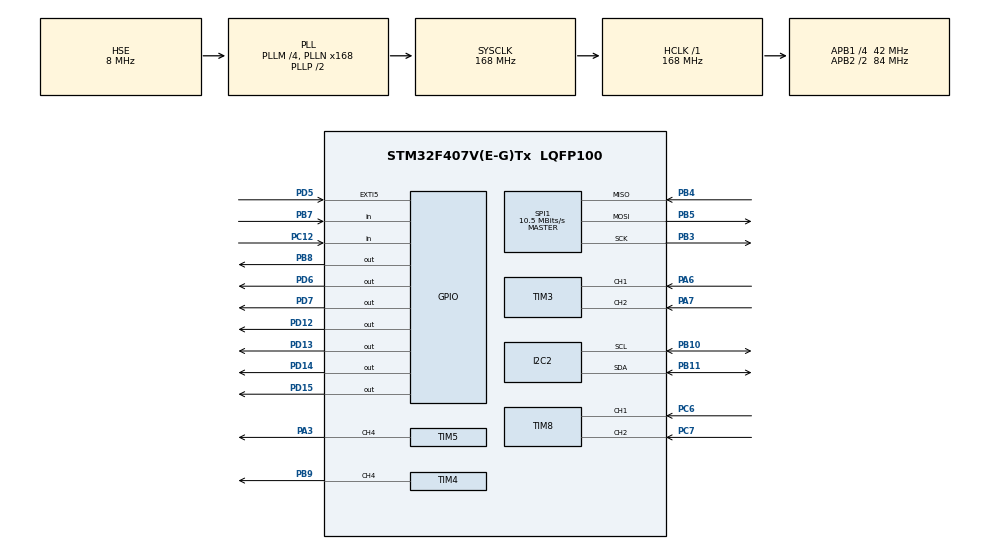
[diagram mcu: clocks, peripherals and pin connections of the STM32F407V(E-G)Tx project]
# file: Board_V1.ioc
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Mcu.Family=STM32F4
Mcu.Name=STM32F407V(E-G)Tx
Mcu.Package=LQFP100
NVIC.EXTI9_5_IRQn=true\:0\:0\:false\:false\:true\:true\:true\:true
NVIC.PriorityGroup=NVIC_PRIORITYGROUP_4
NVIC.TIM2_IRQn=true\:0\:0\:false\:false\:true\:true\:true\:true
PA13.Mode=Serial_Wire
PA13.Signal=SYS_JTMS-SWDIO
PA14.Mode=Serial_Wire
PA14.Signal=SYS_JTCK-SWCLK
PA3.Signal=S_TIM5_CH4
PA6.Signal=S_TIM3_CH1
PA7.Signal=S_TIM3_CH2
PB10.Mode=I2C
PB10.Signal=I2C2_SCL
PB11.Mode=I2C
PB11.Signal=I2C2_SDA
PB3.Mode=Full_Duplex_Master
PB3.Signal=SPI1_SCK
PB4.Mode=Full_Duplex_Master
PB4.Signal=SPI1_MISO
PB5.Mode=Full_Duplex_Master
PB5.Signal=SPI1_MOSI
PB7.Signal=GPIO_Input
PB8.Signal=GPIO_Output
PB9.Signal=S_TIM4_CH4
PC12.Signal=GPIO_Input
PC6.Signal=S_TIM8_CH1
PC7.Signal=S_TIM8_CH2
PD12.Signal=GPIO_Output
PD13.Signal=GPIO_Output
PD14.Signal=GPIO_Output
PD15.Signal=GPIO_Output
PD5.GPIO_ModeDefaultEXTI=GPIO_MODE_IT_FALLING
PD5.Signal=GPXTI5
PD6.Signal=GPIO_Output
PD7.Signal=GPIO_Output
PH0-OSC_IN.Mode=HSE-External-Oscillator
PH0-OSC_IN.Signal=RCC_OSC_IN
PH1-OSC_OUT.Mode=HSE-External-Oscillator
PH1-OSC_OUT.Signal=RCC_OSC_OUT
ProjectManager.HeapSize=0x200
ProjectManager.StackSize=0x400
ProjectManager.TargetToolchain=STM32CubeIDE
RCC.48MHZClocksFreq_Value=84000000
RCC.AHBFreq_Value=168000000
RCC.APB1CLKDivider=RCC_HCLK_DIV4
RCC.APB1Freq_Value=42000000
RCC.APB1TimFreq_Value=84000000
RCC.APB2CLKDivider=RCC_HCLK_DIV2
RCC.APB2Freq_Value=84000000
RCC.APB2TimFreq_Value=168000000
RCC.CortexFreq_Value=168000000
RCC.HCLKFreq_Value=168000000
RCC.HSE_VALUE=8000000
RCC.HSI_VALUE=16000000
RCC.LSE_VALUE=32768
RCC.PLLM=4
RCC.PLLN=168
RCC.PLLSourceVirtual=RCC_PLLSOURCE_HSE
RCC.SYSCLKFreq_VALUE=168000000
RCC.SYSCLKSource=RCC_SYSCLKSOURCE_PLLCLK
RCC.VCOOutputFreq_Value=336000000
SH.S_TIM3_CH1.0=TIM3_CH1,Encoder_Interface
SH.S_TIM3_CH2.0=TIM3_CH2,Encoder_Interface
SH.S_TIM4_CH4.0=TIM4_CH4,PWM Generation4 CH4
SH.S_TIM5_CH4.0=TIM5_CH4,PWM Generation4 CH4
SH.S_TIM8_CH1.0=TIM8_CH1,Encoder_Interface
SH.S_TIM8_CH2.0=TIM8_CH2,Encoder_Interface
SPI1.BaudRatePrescaler=SPI_BAUDRATEPRESCALER_8
SPI1.CalculateBaudRate=10.5 MBits/s
SPI1.Direction=SPI_DIRECTION_2LINES
SPI1.Mode=SPI_MODE_MASTER
SPI1.VirtualType=VM_MASTER
TIM2.AutoReloadPreload=TIM_AUTORELOAD_PRELOAD_DISABLE
TIM2.Period=999
TIM2.Prescaler=83
TIM3.EncoderMode=TIM_ENCODERMODE_TI12
TIM3.IC1Polarity=TIM_ICPOLARITY_RISING
TIM3.IC2Polarity=TIM_ICPOLARITY_FALLING
TIM4.Channel-PWM\ Generation4\ CH4=TIM_CHANNEL_4
TIM4.Period=1199
TIM4.Prescaler=13
TIM5.AutoReloadPreload=TIM_AUTORELOAD_PRELOAD_DISABLE
TIM5.Channel-PWM\ Generation4\ CH4=TIM_CHANNEL_4
TIM5.Period=19999
TIM5.Prescaler=83
TIM8.EncoderMode=TIM_ENCODERMODE_TI12
TIM8.IC2Polarity=TIM_ICPOLARITY_FALLING
VP_TIM2_VS_ClockSourceINT.Mode=Internal
board=custom

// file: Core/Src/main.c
/* USER CODE BEGIN Header */
/**
  ******************************************************************************
  * @file           : main.c
  * @brief          : Main program body
  ******************************************************************************
  * @attention
  *
  * Copyright (c) 2024 STMicroelectronics.
  * All rights reserved.
  *
  * This software is licensed under terms that can be found in the LICENSE file
  * in the root directory of this software component.
  * If no LICENSE file comes with this software, it is provided AS-IS.
  *
  ******************************************************************************
  */
/* USER CODE END Header */
#include "main.h"
#include "i2c.h"
#include "spi.h"
#include "tim.h"
#include "gpio.h"

/* USER CODE BEGIN Includes */
#include "bno055.h"
#include "bno_config.h"
#include "math.h"
#include "esc.h"
#include "nrf24l01p.h"
#include "config_data.h"

/* USER CODE END Includes */

/* USER CODE BEGIN PD */
#define TRANSMITTER 					//phát
//#define RECEIVER
#define mainland
//#define Underwater

/* USER CODE END PD */

void SystemClock_Config(void);
/* USER CODE BEGIN PFP */
void HAL_GPIO_EXTI_Callback(uint16_t GPIO_Pin);
void HAL_TIM_PeriodElapsedCallback(TIM_HandleTypeDef *htim);
void CALCULATOR(float _dt);
float __low_pass_filter(float input, float previous_output, float alpha);
void read_value_BNO055();
void PID_calculator();
void BNO_init();
void calib_euler(bno055_euler_t* eul_caculate,  bno055_euler_t eul_raw, bno055_euler_t eul_offset );
void euler_get_value_offset(bno055_euler_t* eul_offset, bno055_euler_t eul_raw);
void calib_acc(bno055_vec3_t* acc_caculate,  bno055_vec3_t acc_raw, bno055_vec3_t acc_offset );
void acc_get_value_offset(bno055_vec3_t* acc_offset, bno055_vec3_t acc_raw);
void calib_gyr(bno055_vec3_t* gyr_caculate,  bno055_vec3_t gyr_raw, bno055_vec3_t gyr_offset );
void gyr_get_value_offset(bno055_vec3_t* gyr_offset, bno055_vec3_t gyr_raw);
/* USER CODE END PFP */

/* USER CODE BEGIN 0 */
bno055_t sensor;
error_bno err;

bno055_euler_t eul_raw 			= { 0, 0, 0 };
bno055_euler_t eul_caculate 		= { 0, 0, 0 };
bno055_euler_t eul_data_offset 		= { 0, 0, 0 };

bno055_vec3_t acc_raw 			= { 0, 0, 0 };
bno055_vec3_t acc_caculate 		= { 0, 0, 0 };
bno055_vec3_t acc_data_offset 		= { 0, 0, 0 };

bno055_vec3_t gyr_raw 			= { 0, 0, 0 };
bno055_vec3_t gyr_caculate 		= { 0, 0, 0 };
bno055_vec3_t gyr_data_offset 		= { 0, 0, 0 };

bno055_vec3_t gyr 			= { 0, 0, 0 };

float acc_x_filter  			= 0.0f;
float gyr_y_deg  			= 0.0f,  		gyr_y_filter  		= 0.0f;
float eul_roll_filter 			= 0.0f, 		eul_pitch_filter 	= 0.0f;
float eul_roll_deg 			= 0.0f, 		eul_pitch_deg 		= 0.0f;
float offset_roll 			= 0.0f, 		offset_pitch 		= 0.0f;
float offset_acc 			= 0.0f;

float Wave_BNO = 0.0f, Wave_flash = 0.0f;

float  dt;
double Wave_pulse_omega = 0, 	Wave_pulse_angle 	= 0;
double pulse_omega 	= 0, 	err_pulse_omega 	= 0, 		pulse_angle 	= 0, 	err_pulse_angle 	= 0;
int16_t encoder_omega 	= 0, 	encoder_pre_omega 	= 0, 		encoder_angle 	= 0, 	encoder_pre_angle 	= 0;
float omega_raw 	= 0.0f, omega_raw_pre 		= 0.0f, 	omega_filter	= 0.0f;
float angle 		= 0.0f, omega 			= 0.0f;
float angle_pendulum 	= 0.0f, angle_pe_rad 		= 0.0f;

float F_spinner = 14.121576f;		// F = mg = 1.44 * 9.8066

float Output_PID_omega  = 0,		Output_PID_angle = 0,		Output_keep	= 0, 		Output_PID = 0;
float  SP_omega 	= 0.0f, 	SP_angle 	 = 0.0f, 	SP_angle_save 	= 0.0f;
float  E_angle 		= 0.0f,		E_omega  	 = 0.0f;

float  Kp_angle 	= 10.0f, 	Kp_omega = 2.0f;

float a_wave 		= 0.0f, 	a_Rg 	 = 0.0f, 		K1 = 0.0f,	K2 = 0.0f;
float Ls 		= 0.2272125f; 			// Ls = Is * omega_s
float Is 		= 0.0006256619f, dtL	= 0.0f, 	omega_G = 0.0f,  omega_G_Degrees = 0.0f ;  //[kg/m2]
float Ixx 	 	= 0.0012513238f, W 	= 10.0f, 	Fcut 	= 0.0f;
float GM 		= 0.00514652956f;

#ifdef mainland
float K_omega_G			= 0.24f;
float K_aRg 			= 1.0f;
float CutOffFrequency 		= 0.75f;
float beta 			= 30.0f;
#endif

#ifdef Underwater
float K_omega_G		= 0.335f;
float K_aRg 		= 1.0f;
float CutOffFrequency   = 2.5f;
beta 			= 15.0f;
#endif

uint8_t	tx_data[32];		//rf
data_t data_out;
/* USER CODE END 0 */

int main(void)
{

  /* MCU Configuration--------------------------------------------------------*/

  /* Reset of all peripherals, Initializes the Flash interface and the Systick. */
  HAL_Init();

  /* Configure the system clock */
  SystemClock_Config();

  /* Initialize all configured peripherals */
  MX_GPIO_Init();
  MX_TIM2_Init();
  MX_TIM3_Init();
  MX_TIM4_Init();
  MX_TIM8_Init();
  MX_TIM5_Init();
  MX_SPI1_Init();
  MX_I2C2_Init();
  /* USER CODE BEGIN 2 */
  	esc_init();
	HAL_Delay(100);
	calib_esc();							//esc callib
	HAL_Delay(1000);

	BNO_init();							// connert BNO
	HAL_Delay(100);

	sensor.euler(&sensor, &eul_raw);				// get value euler
	euler_get_value_offset(&eul_data_offset, eul_raw);		// offset euler

	sensor.acc(&sensor, &acc_raw);					// get value acc
	acc_get_value_offset(&acc_data_offset,  acc_raw);		// offset acc

	sensor.gyro(&sensor, &gyr_raw);					// get value gyr
	gyr_get_value_offset(&gyr_data_offset,  gyr_raw);		// offset gyr

	HAL_TIM_Encoder_Start_IT(&htim3, TIM_CHANNEL_1); 		// init timer3-1 -- encoder
	HAL_TIM_Encoder_Start_IT(&htim3, TIM_CHANNEL_2); 		// init timer3-2 -- encoder

	HAL_TIM_Encoder_Start_IT(&htim8, TIM_CHANNEL_1); 		// init timer8-1 -- encoder
	HAL_TIM_Encoder_Start_IT(&htim8, TIM_CHANNEL_2); 		// init timer8-2 -- encoder

	HAL_TIM_PWM_Start_IT(&htim4, TIM_CHANNEL_4);			// init timer4-4 - pwm

	HAL_TIM_Base_Start_IT(&htim2);					// init timer2 - interrup

	Fcut = 1 - exp(-0.01*2.0f*M_PI*CutOffFrequency);		// frequency cut
// init  RF
#ifdef RECEIVER
	nrf24l01p_rx_init(2500, _1Mbps);
#endif
#ifdef TRANSMITTER
	nrf24l01p_tx_init(2500, _1Mbps);
#endif
  /* USER CODE END 2 */

  /* Infinite loop */
  /* USER CODE BEGIN WHILE */
  while (1)
  {
	  if(HAL_GPIO_ReadPin(GPIOB, GPIO_PIN_7) == 1)		 		//check sw esc
	  {
		  HAL_GPIO_WritePin(GPIOD, GPIO_PIN_15, GPIO_PIN_SET);		// led 15-1
		  __HAL_TIM_SET_COMPARE(&htim5, TIM_CHANNEL_4, 1200);		// out duty esc 1200
	  }
	  else
	  {
		HAL_GPIO_WritePin(GPIOD, GPIO_PIN_15, GPIO_PIN_RESET);		// led 15 - 0
		__HAL_TIM_SET_COMPARE(&htim5, TIM_CHANNEL_4, 0);		// out duty esc 0
	  }

	#ifdef RECEIVER
	  // Nothing to do
	#endif

	#ifdef TRANSMITTER								// assign data to send
	 data_out.eul_roll_deg		= eul_roll_deg;
	 data_out.eul_pitch_deg 	= eul_pitch_deg;
	 data_out.acc_x_filter 		= acc_x_filter;
	 data_out.omega_filter		= omega_filter;
	 data_out.angle 		= angle;
	 data_out.angle_pendulum 	= angle_pendulum;
	 data_out.SP_angle 		= SP_angle;
	 data_out.gyr_y_deg 		= gyr_y_deg;
	 _pack_data(tx_data, data_out);					// đóng gói dữ liệu gửi
	 nrf24l01p_tx_transmit(tx_data);				// gửi dữ liệu
	 HAL_Delay(50);
	#endif

    /* USER CODE END WHILE */

  }
}

void SystemClock_Config(void)
{
  RCC_OscInitTypeDef RCC_OscInitStruct = {0};
  RCC_ClkInitTypeDef RCC_ClkInitStruct = {0};

  /** Configure the main internal regulator output voltage
  */
  __HAL_RCC_PWR_CLK_ENABLE();
  __HAL_PWR_VOLTAGESCALING_CONFIG(PWR_REGULATOR_VOLTAGE_SCALE1);

  /** Initializes the RCC Oscillators according to the specified parameters
  * in the RCC_OscInitTypeDef structure.
  */
  RCC_OscInitStruct.OscillatorType = RCC_OSCILLATORTYPE_HSE;
  RCC_OscInitStruct.HSEState = RCC_HSE_ON;
  RCC_OscInitStruct.PLL.PLLState = RCC_PLL_ON;
  RCC_OscInitStruct.PLL.PLLSource = RCC_PLLSOURCE_HSE;
  RCC_OscInitStruct.PLL.PLLM = 4;
  RCC_OscInitStruct.PLL.PLLN = 168;
  RCC_OscInitStruct.PLL.PLLP = RCC_PLLP_DIV2;
  RCC_OscInitStruct.PLL.PLLQ = 4;
  if (HAL_RCC_OscConfig(&RCC_OscInitStruct) != HAL_OK)
  {
    Error_Handler();
  }

  /** Initializes the CPU, AHB and APB buses clocks
  */
  RCC_ClkInitStruct.ClockType = RCC_CLOCKTYPE_HCLK|RCC_CLOCKTYPE_SYSCLK
                              |RCC_CLOCKTYPE_PCLK1|RCC_CLOCKTYPE_PCLK2;
  RCC_ClkInitStruct.SYSCLKSource = RCC_SYSCLKSOURCE_PLLCLK;
  RCC_ClkInitStruct.AHBCLKDivider = RCC_SYSCLK_DIV1;
  RCC_ClkInitStruct.APB1CLKDivider = RCC_HCLK_DIV4;
  RCC_ClkInitStruct.APB2CLKDivider = RCC_HCLK_DIV2;

  if (HAL_RCC_ClockConfig(&RCC_ClkInitStruct, FLASH_LATENCY_5) != HAL_OK)
  {
    Error_Handler();
  }
}
/* USER CODE BEGIN 4 */
void HAL_TIM_PeriodElapsedCallback(TIM_HandleTypeDef *htim)	// hàm ngắt timer 2
{
	if (htim->Instance == TIM2) // 1[ms]		// kiểm tra vào đúng ngắt không
	{
		Wave_BNO++;								// cộng bộ đếm tràn 10ms

		encoder_omega = __HAL_TIM_GET_COUNTER(&htim3);  // lay gia tri encoder o time3
		__HAL_TIM_SET_COUNTER(&htim3, 0);				// reset htim3
		encoder_angle = __HAL_TIM_GET_COUNTER(&htim8);  // lay gia tri encoder o time8
		dt = 0.001f;									// thời gian lấy mẫu dt
		//chong tran xung htim3 (OMEGA)
		err_pulse_omega = encoder_omega - encoder_pre_omega;		// sai số xung omega
		if(err_pulse_omega < -32000)
		{
			Wave_pulse_omega = Wave_pulse_omega +1;					// số lần tràn +1
		}
		if(err_pulse_omega > 32000)
		{
			Wave_pulse_omega = Wave_pulse_omega -1;					// số lần tràn - 1
		}
		pulse_omega = encoder_omega + (Wave_pulse_omega * 65535.0f ); // xung omega
		encoder_pre_omega = encoder_omega;							// xung hiện tại = xung trước đó
		Wave_pulse_omega = 0;										// reset biến đếm tràn

		//chong tran xung htim8 (ANGLE)
		err_pulse_angle = encoder_angle - encoder_pre_angle;		// sai số xung angle
		if (err_pulse_angle < -32000)
		{
			Wave_pulse_angle = Wave_pulse_angle +1;					// số lần tràn +1
		}
		else if(err_pulse_angle > 32000)
		{
			Wave_pulse_angle = Wave_pulse_angle -1;					// số lần tràn -1
		}
		pulse_angle = encoder_angle + (Wave_pulse_angle * 65535.0f); // xung angle
		encoder_pre_angle = encoder_angle;							// xung hiện tại = xung trước đó
		Wave_pulse_angle = 0;										// reset biến đếm tràn

		//Cal ANGlE & OMEGA
		angle     		= pulse_angle * 360.0f / 2400.0f;			    // tính vị trí động cơ
		angle_pendulum  = angle / 4;									// từ góc dco qua góc con lắc

		omega_raw 		= (pulse_omega * 60.0f) / (dt*2400.0f);   		// tính tốc độ động cơ (thô)
		omega_filter 	= __low_pass_filter(omega_raw, omega_filter , 0.4f );  // lọc omega

		// PID controller
		PID_calculator();							//tính toán giá trị đầu vào và đưa ra giá trị pid
		MotorDriver(Output_PID);					// hàm điều khiển động cơ servo

		if (Wave_BNO > 9)    // 10 [ms]
		{
			Wave_BNO = 0;							// reset biến đếm tràn
			sensor.euler(&sensor, &eul_raw);  		// read value eul for sensor
			sensor.acc  (&sensor, &acc_raw);		// read value acc for sensor
			sensor.gyro (&sensor, &gyr_raw);		// read value gyr for sensor

			eul_roll_filter  = eul_roll_filter + (eul_caculate.roll - eul_roll_filter) * Fcut;  	// lọc LPF
			eul_roll_deg     = eul_roll_filter * (180 / M_PI);		// rad -> deg

			eul_pitch_filter = eul_pitch_filter + (eul_caculate.pitch - eul_pitch_filter) * Fcut;	// lọc LPF
			eul_pitch_deg    = eul_pitch_filter * (180 / M_PI);		// rad -> deg

			gyr_y_filter	 = gyr_y_filter + (gyr_caculate.y - gyr_y_filter) * Fcut;				// lọc LPF
			gyr_y_deg  	  	 =  -(gyr_y_filter * (180 / M_PI));		// rad/s -> deg/s

			acc_x_filter	 = acc_x_filter + (acc_caculate.x - acc_x_filter) * Fcut;				// lọc LPF

			// out 			 = out 			+ (		in		  -		out     ) * Fcut

			calib_euler(&eul_caculate,  eul_raw,  eul_data_offset);		// offset giá trị euler
			calib_acc  (&acc_caculate,  acc_raw,  acc_data_offset);		// offset giá trị acc
			calib_gyr  (&gyr_caculate,  gyr_raw,  gyr_data_offset);		// offset giá trị gyr

			if(HAL_GPIO_ReadPin(GPIOC, GPIO_PIN_12) == 1)
			{
				euler_get_value_offset(&eul_data_offset, eul_raw);  	//lấy giá trị offset
				acc_get_value_offset  (&acc_data_offset, acc_raw);		//lấy giá trị offset
				gyr_get_value_offset  (&gyr_data_offset, gyr_raw);		//lấy giá trị offset
			}

			CALCULATOR(0.01f);										//hàm con tính toán SP omega và angle
		}
	}
}
void CALCULATOR(float _dt)
{
	//Ixx = Is * K_Ixx;												// hệ số Ixx

	a_Rg =(W*GM*sin(eul_roll_filter)*(1+sin(eul_pitch_filter))/Ixx) * K_aRg;	// gia tốc hồi phục[rad/s^2]
	a_wave = acc_x_filter/GM - a_Rg; 								// gia tốc của sóng tác động lên tàu
	dtL = Ixx * a_wave * _dt ; 											// dt = 0.01

	K1 = ((2.0f * Ls * Ls) - (dtL * dtL)) / (2.0f * Ls * Ls);
	if (a_wave >= 0)													// xét dấu a_wave
	{
		omega_G = -((acos(K1) / _dt) * 4.0f) * K_omega_G;				// omega_G [rad/s]
	}
	else
	{
		omega_G =  ((acos(K1) / _dt) * 4.0f) * K_omega_G;				// omega_G [rad/s]
	}
	omega_G_Degrees = omega_G * (180.0f / M_PI);						// omega_G [rad/s] -> [deg/s]

	SP_omega = omega_G_Degrees;											// cài setpoint vận tốc góc
	SP_angle = SP_angle + omega_G_Degrees / 100.0f;						// cài setpoint vị trí
	//hoi tu voi van toc beta
	if(SP_angle >= 0)
	{
		SP_angle = SP_angle - beta / 100.0f;
	}
	else
	{
		SP_angle = SP_angle + beta / 100.0f;
	}
	// giới hạn góc
	if(SP_angle > 60)
	{
		SP_angle = 60;
	}
	if(SP_angle < -60)
	{
		SP_angle = -60;
	}
	// giới hạn omega
	if(SP_omega > 600)
	{
		SP_omega = 600;
	}
	if(SP_omega < -600)
	{
		SP_omega = -600;
	}
}
void PID_calculator()							// tính toán PID
{
	E_angle = SP_angle - angle_pendulum;		//tính sai số angle con lắc
	E_omega = SP_omega - omega_filter;			//tính sai số omega

	Output_PID_angle = Kp_angle * E_angle;		// out = Kp.E
	Output_PID_omega = Kp_omega * E_omega;
	Output_keep = (F_spinner * sin(SP_angle*(M_PI / 180.0f))) / 0.03;		// PID giữ tương ứng với góc SP con lắc

	Output_PID = Output_PID_omega + Output_PID_angle  + Output_keep;		// tổng PID
}
void HAL_GPIO_EXTI_Callback(uint16_t GPIO_Pin)   // ngắt nhận RF
{
	if(GPIO_Pin == NRF24L01P_IRQ_PIN_NUMBER)
	{
		#ifdef RECEIVER
			//nothing to do
		#endif

		#ifdef TRANSMITTER
				nrf24l01p_tx_irq();
				HAL_GPIO_WritePin(GPIOD, GPIO_PIN_13, GPIO_PIN_SET);
		#endif
	}
}
void calib_acc(bno055_vec3_t* acc_caculate,  bno055_vec3_t acc_raw, bno055_vec3_t acc_offset )
{
	acc_caculate->x = acc_raw.x - acc_offset.x;
}
void acc_get_value_offset(bno055_vec3_t* acc_offset, bno055_vec3_t acc_raw)
{
	acc_offset->x = acc_raw.x;
}
void calib_gyr(bno055_vec3_t* gyr_caculate,  bno055_vec3_t gyr_raw, bno055_vec3_t gyr_offset )
{
	gyr_caculate->y = gyr_raw.y - gyr_offset.y;
}
void gyr_get_value_offset(bno055_vec3_t* gyr_offset, bno055_vec3_t gyr_raw)
{
	gyr_offset->y = gyr_raw.y;
}
void calib_euler(bno055_euler_t* eul_caculate,  bno055_euler_t eul_raw, bno055_euler_t eul_offset)
{
	eul_caculate->roll = eul_raw.roll - eul_offset.roll;
	eul_caculate->pitch = eul_raw.pitch - eul_offset.pitch;
}
void euler_get_value_offset(bno055_euler_t* eul_offset, bno055_euler_t eul_raw)
{
	eul_offset->roll = eul_raw.roll;
	eul_offset->pitch = eul_raw.pitch;
}
void BNO_init()
{

	HAL_GPIO_WritePin(GPIOD, GPIO_PIN_12, GPIO_PIN_RESET);
	sensor.i2c = &hi2c2;   									 // connect i2c
	sensor.addr = 0x28;	 								 // connect i2c at 0x28
	sensor.mode = BNO_MODE_NDOF_FMC_OFF;							 // operating mode BNO
	sensor._temp_unit = BNO_TEMP_UNIT_C;
	HAL_Delay(1000);
	if ((err = bno055_init(&sensor)) == BNO_OK) 						 //check connert BNO
	{
		 HAL_GPIO_WritePin(GPIOD, GPIO_PIN_12, GPIO_PIN_SET);				// led 12 - 1
	}
	err = bno055_set_unit(&sensor, BNO_TEMP_UNIT_C, BNO_GYR_UNIT_RPS, BNO_ACC_UNITSEL_M_S2, BNO_EUL_UNIT_RAD);		// set unit value
}
float __low_pass_filter(float input, float previous_output, float alpha)
{
	return alpha * input + (1 - alpha) * previous_output;
}

/* USER CODE END 4 */

void Error_Handler(void)
{
  __disable_irq();
  while (1)
  {
  }
}
